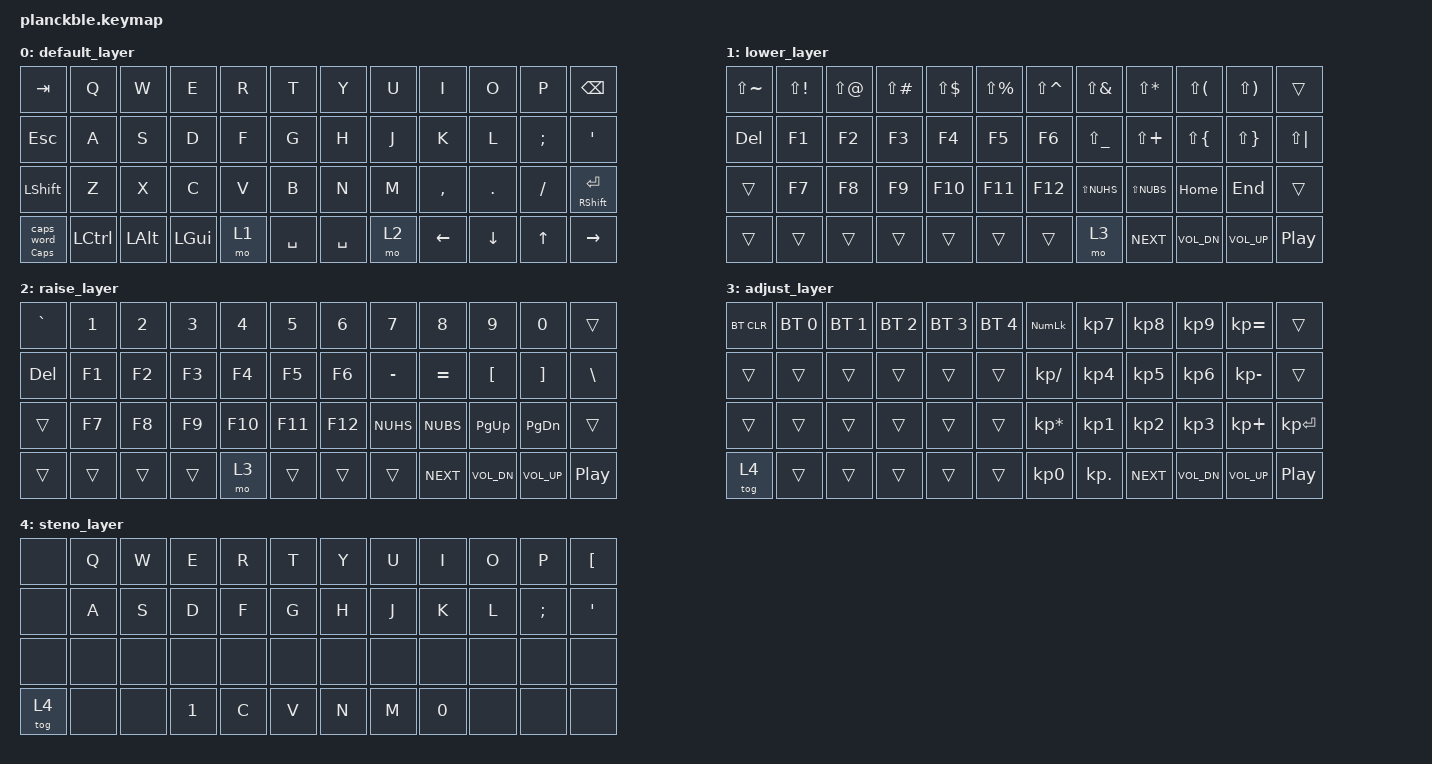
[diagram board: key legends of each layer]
/*
 * Copyright (c) 2021 The ZMK Contributors
 *
 * SPDX-License-Identifier: MIT
 */

#include <behaviors.dtsi>
#include <dt-bindings/zmk/bt.h>
#include <dt-bindings/zmk/keys.h>

&lt {
    flavor = "balanced";
    tapping-term-ms = <100>;
};

/ {
    combos { compatible = "zmk,combos"; };

    behaviors {
        auto_shift: auto_shift {
            compatible = "zmk,behavior-hold-tap";
            label = "AUTO_SHIFT";
            bindings = <&kp>, <&kp>;

            #binding-cells = <2>;
            tapping-term-ms = <175>;
            quick-tap-ms = <0>;
            flavor = "tap-preferred";
        };

        caps: caps {
            compatible = "zmk,behavior-hold-tap";
            label = "CAPS";
            bindings = <&kp>, <&caps_word>;

            #binding-cells = <2>;
            tapping-term-ms = <175>;
            flavor = "tap-preferred";
        };
    };

    keymap {
        compatible = "zmk,keymap";

        default_layer {
            bindings = <
&kp TAB       &kp Q      &kp W     &kp E     &kp R  &kp T      &kp Y      &kp U  &kp I      &kp O     &kp P     &kp BSPC
&kp ESC       &kp A      &kp S     &kp D     &kp F  &kp G      &kp H      &kp J  &kp K      &kp L     &kp SEMI  &kp APOS
&kp LSHIFT    &kp Z      &kp X     &kp C     &kp V  &kp B      &kp N      &kp M  &kp COMMA  &kp DOT   &kp FSLH  &mt RSHIFT ENTER
&caps CAPS 0  &kp LCTRL  &kp LALT  &kp LGUI  &mo 1  &kp SPACE  &kp SPACE  &mo 2  &kp LEFT   &kp DOWN  &kp UP    &kp RIGHT
            >;
        };

        lower_layer {
            bindings = <
&kp LS(TILDE)  &kp LS(EXCL)  &kp LS(AT)  &kp LS(POUND)  &kp LS(DLLR)  &kp LS(PRCNT)  &kp LS(CARET)  &kp LS(AMPS)   &kp LS(STAR)  &kp LS(LPAR)  &kp LS(RPAR)  &trans
&kp DEL        &kp F1        &kp F2      &kp F3         &kp F4        &kp F5         &kp F6         &kp LS(UNDER)  &kp LS(PLUS)  &kp LS(LBRC)  &kp LS(RBRC)  &kp LS(PIPE)
&trans         &kp F7        &kp F8      &kp F9         &kp F10       &kp F11        &kp F12        &kp LS(NUHS)   &kp LS(NUBS)  &kp HOME      &kp END       &trans
&trans         &trans        &trans      &trans         &trans        &trans         &trans         &mo 3          &kp C_NEXT    &kp C_VOL_DN  &kp C_VOL_UP  &kp C_PP
            >;
        };

        raise_layer {
            bindings = <
&kp GRAVE  &kp N1  &kp N2  &kp N3  &kp N4   &kp N5   &kp N6   &kp N7     &kp N8      &kp N9        &kp N0        &trans
&kp DEL    &kp F1  &kp F2  &kp F3  &kp F4   &kp F5   &kp F6   &kp MINUS  &kp EQUAL   &kp LBKT      &kp RBKT      &kp BSLH
&trans     &kp F7  &kp F8  &kp F9  &kp F10  &kp F11  &kp F12  &kp NUHS   &kp NUBS    &kp PG_UP     &kp PG_DN     &trans
&trans     &trans  &trans  &trans  &mo 3    &trans   &trans   &trans     &kp C_NEXT  &kp C_VOL_DN  &kp C_VOL_UP  &kp C_PP
            >;
        };

        adjust_layer {
            bindings = <
&bt BT_CLR  &bt BT_SEL 0  &bt BT_SEL 1  &bt BT_SEL 2  &bt BT_SEL 3  &bt BT_SEL 4  &kp KP_NUMLOCK   &kp KP_N7   &kp KP_N8   &kp KP_N9     &kp KP_EQUAL  &trans
&trans      &trans        &trans        &trans        &trans        &trans        &kp KP_DIVIDE    &kp KP_N4   &kp KP_N5   &kp KP_N6     &kp KP_MINUS  &trans
&trans      &trans        &trans        &trans        &trans        &trans        &kp KP_MULTIPLY  &kp KP_N1   &kp KP_N2   &kp KP_N3     &kp KP_PLUS   &kp KP_ENTER
&tog 4      &trans        &trans        &trans        &trans        &trans        &kp KP_N0        &kp KP_DOT  &kp C_NEXT  &kp C_VOL_DN  &kp C_VOL_UP  &kp C_PP
            >;
        };

        steno_layer {
            bindings = <
&none   &kp Q  &kp W  &kp E   &kp R  &kp T  &kp Y  &kp U  &kp I   &kp O  &kp P     &kp LBKT
&none   &kp A  &kp S  &kp D   &kp F  &kp G  &kp H  &kp J  &kp K   &kp L  &kp SEMI  &kp APOS
&none   &none  &none  &none   &none  &none  &none  &none  &none   &none  &none     &none
&tog 4  &none  &none  &kp N1  &kp C  &kp V  &kp N  &kp M  &kp N0  &none  &none     &none
            >;
        };
    };
};
